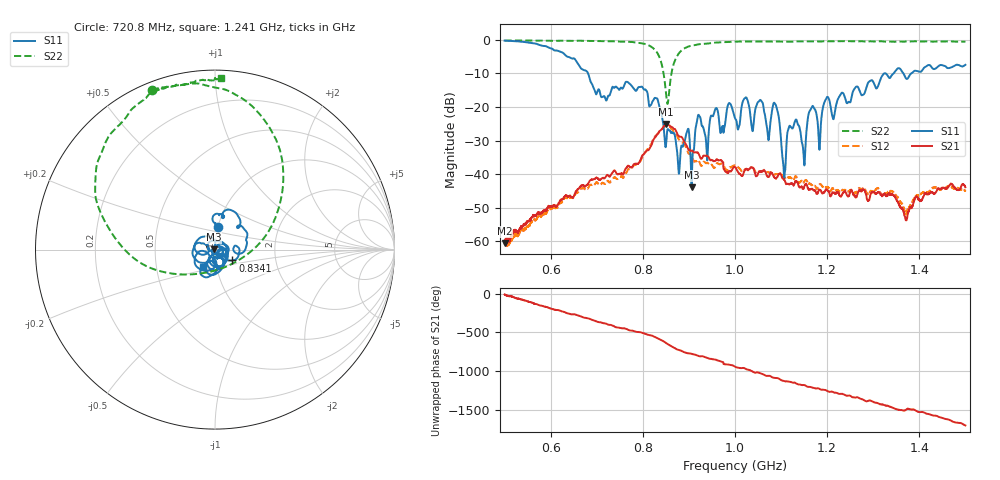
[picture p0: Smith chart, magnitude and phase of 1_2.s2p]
!Agilent Technologies,E8364B,US42250235,A.06.04.32
!Agilent E8364B: A.06.04.32
!Date: Thursday, October 01, 2020 14:27:24
!Correction: S11(Full 2 Port(1,2)) S21(Full 2 Port(1,2)) S12(Full 2 Port(1,2)) S22(Full 2 Port(1,2))
!S2P File: Measurements: S11, S21, S12, S22:
# Hz S  dB  R 50
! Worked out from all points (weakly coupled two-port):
!   2650 points, 500 MHz to 1.5 GHz, reference 50 ohm
!   highest |S21| = -25.03 dB at 849.2 MHz (marker M1); lowest = -60.5 dB at 500 MHz (marker M2)
!   lowest |S11| = -43.9 dB at 905.8 MHz (marker M3), VSWR 1.01, Z = 49.4 + j0.0759 ohm
!   |S11| at or under -10 dB: 681.1 MHz to 1.324 GHz (642.7 MHz wide, 64.1 % of centre); 1.327 GHz to 1.344 GHz (17.36 MHz wide, 1.3 % of centre); 1.366 GHz to 1.382 GHz (16.97 MHz wide, 1.24 % of centre)
!   |S22| runs from -19.1 to -0.2 dB; largest |S21 - S12| = 0.021
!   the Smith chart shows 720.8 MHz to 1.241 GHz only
!   S11 on the Smith chart (normalised r, x): 720.8 MHz: 1.00, +0.25; 834.1 MHz: 1.20, -0.15; 1.241 GHz: 0.86, -0.17
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5e8  -0.23 -175.1  -60.54 -13.9  -60.69 -25.6  -0.21 137.0
5.917327e8  -2.02 125.6  -50.32 -175.0  -51.33 -176.7  -0.26 128.2
6.668554e8  -8.64 68.3  -43.28 61.1  -44.24 47.4  -0.27 119.6
7.208381e8  -18.07 82.5  -40.47 -30.3  -42.38 -45.2  -0.41 111.6
8.337108e8  -18.63 -30.9  -27.66 138.1  -27.83 117.7  -4.47 50.7
8.340883e8  -18.83 -32.1  -27.55 137.0  -27.73 116.7  -4.57 50.1
8.491884e8  -31.96 -33.5  -25.03 85.8  -25.39 65.0  -14.46 -6.1
8.733484e8  -32.30 -83.7  -27.52 1.9  -28.39 -20.9  -5.11 173.9
9.058135e8  -43.85 173.1  -33.02 -57.5  -34.67 -88.0  -1.74 142.8
9.209136e8  -22.32 -1.9  -33.88 -85.3  -35.86 -104.8  -1.33 134.8
9.379011e8  -31.67 -60.2  -34.47 -106.1  -36.72 -125.3  -1.15 127.3
9.579086e8  -20.45 -57.8  -35.97 -133.8  -37.62 -148.3  -0.82 120.5
1.000189e9  -23.37 -122.8  -37.94 136.5  -37.47 139.5  -0.54 112.9
1.087014e9  -19.05 152.7  -41.11 -8.7  -39.96 -0.4  -0.54 104.0
1.106267e9  -40.66 123.6  -41.53 -47.9  -40.69 -36.5  -0.59 100.7
1.131182e9  -23.94 20.2  -42.16 -74.1  -40.53 -69.7  -0.48 96.5
1.149679e9  -36.04 180.0  -44.04 -99.5  -42.38 -95.8  -0.46 94.3
1.166667e9  -20.01 -62.4  -44.38 -130.4  -43.20 -126.6  -0.48 92.7
1.182899e9  -32.36 -96.5  -44.66 -148.3  -43.07 -143.0  -0.51 91.5
1.241412e9  -18.52 -123.9  -45.84 123.3  -45.03 130.7  -0.40 88.1
1.333522e9  -11.16 -153.5  -45.80 -13.3  -44.87 -4.3  -0.52 77.1
1.5e9  -7.45 143.5  -43.88 98.7  -44.81 107.2  -0.57 60.6
